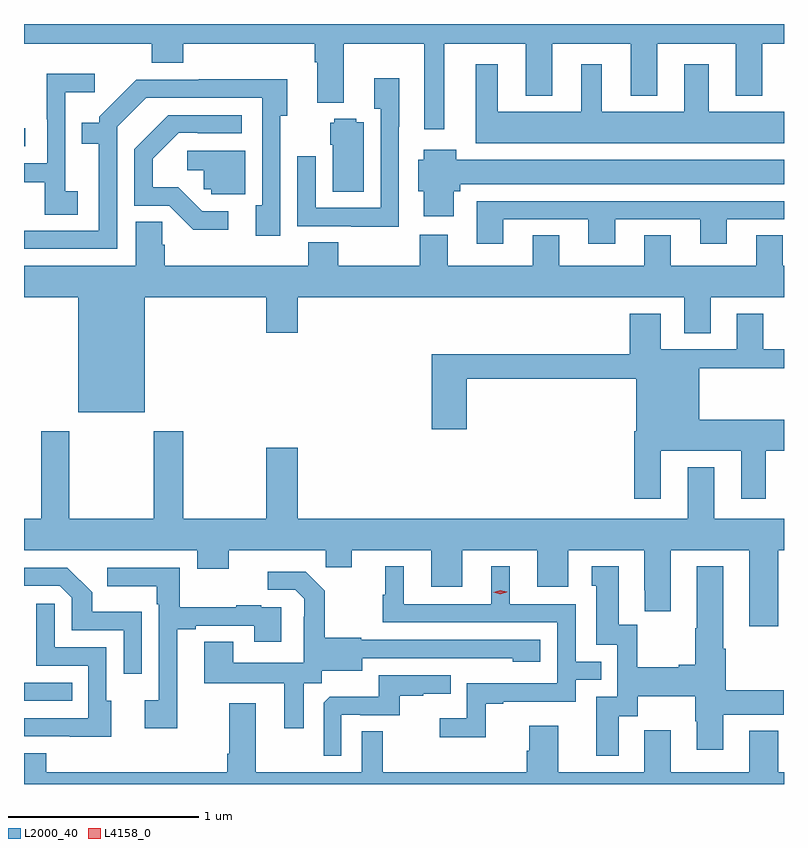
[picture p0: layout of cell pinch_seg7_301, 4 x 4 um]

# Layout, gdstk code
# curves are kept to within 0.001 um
import gdstk
lib = gdstk.Library(unit=1e-6, precision=1e-09)
def R(c, l, rs):  # rectangles x0, y0, x1, y1
    for r in rs: c.add(gdstk.rectangle(r[:2], r[2:], *l))
def P(c, l, *ps):  # polygons
    for p in ps: c.add(gdstk.Polygon(p, *l))
L2000_40 = (2000, 40)
L4158_0 = (4158, 0)

pinch_seg7_301 = lib.new_cell('pinch_seg7_301')
R(pinch_seg7_301, L2000_40, [(547.348,1075.746,547.601,1075.842), (547.348,1078.665,547.354,1078.761)])
P(pinch_seg7_301, L2000_40, [(547.348,1079.204),(548.021,1079.204),(548.021,1079.105),(548.186,1079.105),(548.186,1079.204),(548.879,1079.204),(548.879,1079.108),(548.891,1079.108),(548.891,1078.895),(549.031,1078.895),(549.031,1079.204),(549.455,1079.204),(549.455,1078.755),(549.559,1078.755),(549.559,1079.204),(549.989,1079.204),(549.989,1078.931),(550.129,1078.931),(550.129,1079.204),(550.541,1079.204),(550.541,1078.931),(550.681,1078.931),(550.681,1079.204),(551.093,1079.204),(551.093,1078.931),(551.233,1078.931),(551.233,1079.204),(551.348,1079.204),(551.348,1079.309),(547.348,1079.309)],
  [(551.348,1078.846),(550.951,1078.846),(550.951,1079.098),(550.823,1079.098),(550.823,1078.846),(550.39,1078.846),(550.39,1079.098),(550.28,1079.098),(550.28,1078.846),(549.841,1078.846),(549.841,1079.098),(549.725,1079.098),(549.725,1078.682),(551.348,1078.682)],
  [(547.63,1078.428),(547.566,1078.428),(547.566,1078.949),(547.72,1078.949),(547.72,1079.047),(547.468,1079.047),(547.468,1078.808),(547.47,1078.808),(547.47,1078.575),(547.348,1078.575),(547.348,1078.477),(547.458,1078.477),(547.458,1078.306),(547.63,1078.306)],
  [(549.321,1078.767),(549.322,1078.767),(549.322,1079.023),(549.191,1079.023),(549.191,1078.862),(549.225,1078.862),(549.225,1078.341),(548.883,1078.341),(548.883,1078.612),(548.787,1078.612),(548.787,1078.245),(549.071,1078.245),(549.071,1078.241),(549.321,1078.241)],
  [(547.839,1078.767),(547.992,1078.92),(548.601,1078.92),(548.601,1078.354),(548.567,1078.354),(548.567,1078.194),(548.697,1078.194),(548.697,1078.826),(548.734,1078.826),(548.734,1079.018),(548.269,1079.018),(548.269,1079.016),(547.938,1079.016),(547.743,1078.821),(547.743,1078.789),(547.651,1078.789),(547.651,1078.68),(547.742,1078.68),(547.742,1078.221),(547.348,1078.221),(547.348,1078.125),(547.839,1078.125)],
  [(548.422,1078.323),(548.286,1078.323),(548.159,1078.45),(548.026,1078.45),(548.026,1078.6),(548.163,1078.737),(548.263,1078.737),(548.263,1078.734),(548.494,1078.734),(548.494,1078.83),(548.108,1078.83),(547.929,1078.651),(547.929,1078.353),(548.112,1078.353),(548.24,1078.226),(548.422,1078.226)],
  [(549.136,1078.792),(549.096,1078.792),(549.096,1078.81),(548.982,1078.81),(548.982,1078.788),(548.96,1078.788),(548.96,1078.674),(548.972,1078.674),(548.972,1078.426),(549.136,1078.426)],
  [(549.61,1078.43),(549.643,1078.43),(549.643,1078.466),(551.348,1078.466),(551.348,1078.594),(549.623,1078.594),(549.623,1078.648),(549.452,1078.648),(549.452,1078.594),(549.422,1078.594),(549.422,1078.43),(549.452,1078.43),(549.452,1078.296),(549.61,1078.296)],
  [(548.512,1078.641),(548.208,1078.641),(548.208,1078.538),(548.295,1078.538),(548.295,1078.44),(548.334,1078.44),(548.334,1078.413),(548.512,1078.413)],
  [(549.871,1078.281),(550.319,1078.281),(550.319,1078.152),(550.459,1078.152),(550.459,1078.281),(550.907,1078.281),(550.907,1078.152),(551.047,1078.152),(551.047,1078.281),(551.348,1078.281),(551.348,1078.377),(549.731,1078.377),(549.731,1078.152),(549.871,1078.152)],
  [(551.348,1078.036),(551.341,1078.036),(551.341,1078.196),(551.201,1078.196),(551.201,1078.036),(550.753,1078.036),(550.753,1078.196),(550.613,1078.196),(550.613,1078.036),(550.165,1078.036),(550.165,1078.196),(550.025,1078.196),(550.025,1078.036),(549.577,1078.036),(549.577,1078.201),(549.43,1078.201),(549.43,1078.036),(549.003,1078.036),(549.003,1078.16),(548.843,1078.16),(548.843,1078.036),(548.09,1078.036),(548.09,1078.146),(548.075,1078.146),(548.075,1078.268),(547.937,1078.268),(547.937,1078.036),(547.348,1078.036),(547.348,1077.872),(547.634,1077.872),(547.634,1077.266),(547.984,1077.266),(547.984,1077.872),(548.624,1077.872),(548.624,1077.684),(548.788,1077.684),(548.788,1077.872),(550.823,1077.872),(550.823,1077.682),(550.963,1077.682),(550.963,1077.872),(551.348,1077.872)],
  [(550.699,1077.062),(551.123,1077.062),(551.123,1076.811),(551.251,1076.811),(551.251,1077.062),(551.348,1077.062),(551.348,1077.226),(550.903,1077.226),(550.903,1077.496),(551.348,1077.496),(551.348,1077.597),(551.239,1077.597),(551.239,1077.784),(551.099,1077.784),(551.099,1077.597),(550.699,1077.597),(550.699,1077.784),(550.535,1077.784),(550.535,1077.571),(549.494,1077.571),(549.494,1077.177),(549.677,1077.177),(549.677,1077.442),(550.571,1077.442),(550.571,1077.166),(550.559,1077.166),(550.559,1076.811),(550.699,1076.811)],
  [(548.187,1077.166),(548.032,1077.166),(548.032,1076.704),(547.587,1076.704),(547.587,1077.166),(547.439,1077.166),(547.439,1076.704),(547.348,1076.704),(547.348,1076.54),(548.261,1076.54),(548.261,1076.441),(548.425,1076.441),(548.425,1076.54),(548.935,1076.54),(548.935,1076.45),(549.073,1076.45),(549.073,1076.54),(549.491,1076.54),(549.491,1076.346),(549.655,1076.346),(549.655,1076.54),(550.049,1076.54),(550.049,1076.346),(550.213,1076.346),(550.213,1076.54),(550.613,1076.54),(550.613,1076.329),(550.616,1076.329),(550.616,1076.217),(550.753,1076.217),(550.753,1076.54),(551.165,1076.54),(551.165,1076.139),(551.318,1076.139),(551.318,1076.54),(551.348,1076.54),(551.348,1076.704),(550.981,1076.704),(550.981,1076.977),(550.841,1076.977),(550.841,1076.704),(548.788,1076.704),(548.788,1077.079),(548.624,1077.079),(548.624,1076.704),(548.187,1076.704)],
  [(550.477,1075.666),(550.579,1075.666),(550.579,1075.772),(550.882,1075.772),(550.882,1075.638),(550.889,1075.638),(550.889,1075.488),(551.029,1075.488),(551.029,1075.673),(551.347,1075.673),(551.347,1075.803),(551.042,1075.803),(551.042,1076.02),(551.029,1076.02),(551.029,1076.455),(550.889,1076.455),(550.889,1076.129),(550.882,1076.129),(550.882,1075.937),(550.793,1075.937),(550.793,1075.924),(550.575,1075.924),(550.575,1076.147),(550.477,1076.147),(550.477,1076.455),(550.337,1076.455),(550.337,1076.352),(550.361,1076.352),(550.361,1076.043),(550.47,1076.043),(550.47,1075.767),(550.361,1075.767),(550.361,1075.458),(550.477,1075.458)],
  [(549.777,1075.731),(549.871,1075.731),(549.871,1075.743),(550.251,1075.743),(550.251,1075.857),(550.385,1075.857),(550.385,1075.953),(550.251,1075.953),(550.251,1076.256),(549.904,1076.256),(549.904,1076.455),(549.806,1076.455),(549.806,1076.256),(549.346,1076.256),(549.346,1076.455),(549.248,1076.455),(549.248,1076.304),(549.237,1076.304),(549.237,1076.16),(550.155,1076.16),(550.155,1075.839),(549.678,1075.839),(549.678,1075.654),(549.537,1075.654),(549.537,1075.556),(549.777,1075.556)],
  [(548.155,1076.124),(548.251,1076.124),(548.251,1076.142),(548.561,1076.142),(548.561,1076.058),(548.701,1076.058),(548.701,1076.238),(548.597,1076.238),(548.597,1076.251),(548.465,1076.251),(548.465,1076.24),(548.167,1076.24),(548.167,1076.448),(547.785,1076.448),(547.785,1076.351),(548.046,1076.351),(548.046,1076.255),(548.058,1076.255),(548.058,1075.75),(547.983,1075.75),(547.983,1075.602),(548.155,1075.602)],
  [(547.968,1076.215),(547.707,1076.215),(547.707,1076.318),(547.576,1076.448),(547.348,1076.448),(547.348,1076.352),(547.536,1076.352),(547.599,1076.289),(547.599,1076.118),(547.872,1076.118),(547.872,1075.89),(547.968,1075.89)],
  [(548.821,1075.84),(548.916,1075.84),(548.916,1075.904),(549.127,1075.904),(549.127,1075.971),(549.921,1075.97),(549.921,1075.952),(550.066,1075.952),(550.066,1076.067),(549.123,1076.067),(549.123,1076.08),(548.931,1076.08),(548.931,1076.325),(548.831,1076.425),(548.631,1076.425),(548.631,1076.331),(548.775,1076.331),(548.822,1076.284),(548.822,1076.189),(548.82,1076.189),(548.82,1075.948),(548.449,1075.948),(548.449,1076.057),(548.297,1076.057),(548.297,1075.838),(548.717,1075.838),(548.717,1075.602),(548.821,1075.602)],
  [(547.807,1075.746),(547.782,1075.746),(547.782,1076.028),(547.509,1076.028),(547.509,1076.257),(547.413,1076.257),(547.413,1075.932),(547.686,1075.932),(547.686,1075.656),(547.348,1075.656),(547.348,1075.56),(547.589,1075.56),(547.589,1075.559),(547.807,1075.559)],
  [(549.018,1075.674),(549.118,1075.674),(549.118,1075.671),(549.326,1075.671),(549.326,1075.773),(549.449,1075.773),(549.449,1075.784),(549.593,1075.784),(549.593,1075.881),(549.216,1075.881),(549.216,1075.769),(548.957,1075.769),(548.925,1075.737),(548.925,1075.457),(549.018,1075.457)],
  [(551.348,1075.372),(551.318,1075.372),(551.318,1075.588),(551.165,1075.588),(551.165,1075.372),(550.753,1075.372),(550.753,1075.591),(550.613,1075.591),(550.613,1075.372),(550.159,1075.372),(550.159,1075.615),(550.007,1075.615),(550.007,1075.485),(549.995,1075.485),(549.995,1075.372),(549.235,1075.372),(549.235,1075.586),(549.126,1075.586),(549.126,1075.372),(548.569,1075.372),(548.569,1075.735),(548.429,1075.735),(548.429,1075.468),(548.417,1075.468),(548.417,1075.372),(547.465,1075.372),(547.465,1075.471),(547.348,1075.471),(547.348,1075.309),(551.348,1075.309)])
P(pinch_seg7_301, L4158_0, [(549.855,1076.308),(549.819,1076.317),(549.819,1076.317),(549.819,1076.318),(549.855,1076.328),(549.89,1076.32),(549.891,1076.32),(549.89,1076.319)])

lib.write_gds('pinch_seg7_301.gds')
